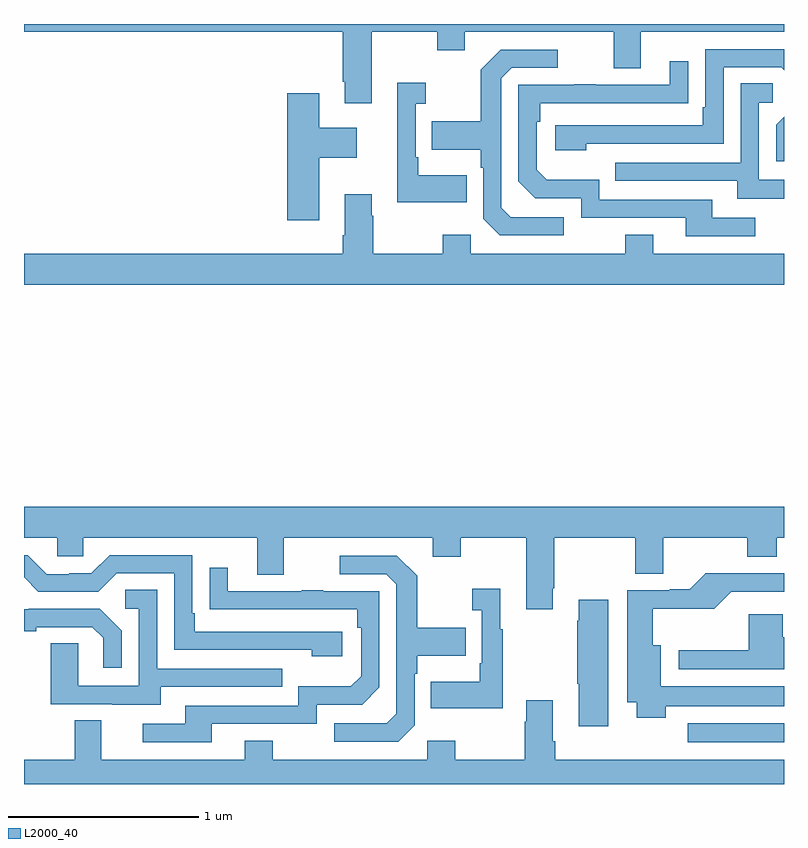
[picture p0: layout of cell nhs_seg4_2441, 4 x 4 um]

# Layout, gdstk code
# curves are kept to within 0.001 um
import gdstk
lib = gdstk.Library(unit=1e-6, precision=1e-09)
def R(c, l, rs):  # rectangles x0, y0, x1, y1
    for r in rs: c.add(gdstk.rectangle(r[:2], r[2:], *l))
def P(c, l, *ps):  # polygons
    for p in ps: c.add(gdstk.Polygon(p, *l))
L2000_40 = (2000, 40)

nhs_seg4_2441 = lib.new_cell('nhs_seg4_2441')
R(nhs_seg4_2441, L2000_40, [(242.493,753.119,243,753.22)])
P(nhs_seg4_2441, L2000_40, [(240.829,756.86),(241.174,756.86),(241.174,756.761),(241.321,756.761),(241.321,756.86),(242.105,756.86),(242.105,756.666),(242.245,756.666),(242.245,756.86),(243,756.86),(243,756.9),(239,756.9),(239,756.86),(240.677,756.86),(240.677,756.595),(240.689,756.595),(240.689,756.483),(240.829,756.483)],
  [(241.958,756.27),(242.682,756.27),(242.682,756.672),(242.985,756.672),(243,756.657),(243,756.768),(242.586,756.768),(242.586,756.463),(242.573,756.463),(242.573,756.366),(241.797,756.366),(241.797,756.236),(241.958,756.236)],
  [(241.84,755.883),(241.563,755.883),(241.512,755.934),(241.512,756.615),(241.566,756.669),(241.81,756.669),(241.81,756.765),(241.509,756.765),(241.404,756.659),(241.404,756.387),(241.147,756.387),(241.147,756.239),(241.404,756.239),(241.404,756.143),(241.416,756.143),(241.416,755.874),(241.503,755.787),(241.84,755.787)],
  [(242.848,755.88),(242.623,755.88),(242.623,755.976),(242.028,755.976),(242.028,756.079),(241.751,756.079),(241.698,756.132),(241.698,756.386),(241.718,756.386),(241.718,756.483),(242.495,756.484),(242.495,756.703),(242.399,756.703),(242.399,756.579),(242.009,756.579),(242.009,756.584),(241.897,756.584),(241.897,756.579),(241.602,756.579),(241.602,756.072),(241.692,755.982),(241.932,755.982),(241.932,755.88),(242.483,755.88),(242.483,755.784),(242.848,755.784)],
  [(241.331,756.103),(241.075,756.103),(241.075,756.199),(241.062,756.199),(241.062,756.479),(241.114,756.479),(241.114,756.592),(240.965,756.592),(240.965,755.963),(241.331,755.963)],
  [(243,756.081),(242.868,756.081),(242.868,756.486),(242.941,756.486),(242.941,756.587),(242.772,756.587),(242.772,756.171),(242.113,756.171),(242.113,756.075),(242.753,756.075),(242.753,755.981),(243,755.981)],
  [(240.553,756.197),(240.751,756.197),(240.751,756.355),(240.553,756.355),(240.553,756.535),(240.386,756.535),(240.386,755.868),(240.553,755.868)],
  [(243,756.412),(242.958,756.37),(242.958,756.177),(243,756.177)],
  [(243,755.692),(242.311,755.692),(242.311,755.791),(242.164,755.791),(242.164,755.692),(241.35,755.692),(241.35,755.791),(241.204,755.791),(241.204,755.692),(240.837,755.692),(240.837,755.891),(240.829,755.891),(240.829,756.004),(240.689,756.004),(240.689,755.788),(240.677,755.788),(240.677,755.692),(239,755.692),(239,755.528),(243,755.528)],
  [(241.783,753.931),(241.791,753.931),(241.791,754.196),(242.218,754.196),(242.218,754.006),(242.365,754.006),(242.365,754.196),(242.806,754.196),(242.806,754.097),(242.961,754.097),(242.961,754.196),(243,754.196),(243,754.36),(239,754.36),(239,754.196),(239.175,754.196),(239.175,754.098),(239.313,754.098),(239.313,754.196),(240.227,754.196),(240.227,754.002),(240.367,754.002),(240.367,754.196),(241.151,754.196),(241.151,754.097),(241.299,754.097),(241.299,754.196),(241.643,754.196),(241.643,753.819),(241.783,753.819)],
  [(240.676,753.702),(239.899,753.702),(239.899,753.799),(239.886,753.799),(239.886,754.104),(239.451,754.104),(239.355,754.008),(239.237,754.008),(239.237,754.005),(239.121,754.005),(239.021,754.105),(239,754.105),(239,753.988),(239.076,753.912),(239.391,753.912),(239.487,754.008),(239.79,754.008),(239.79,753.606),(240.515,753.606),(240.515,753.572),(240.676,753.572)],
  [(241.056,753.21),(241.056,753.479),(241.069,753.479),(241.069,753.575),(241.325,753.575),(241.325,753.723),(241.069,753.723),(241.069,753.995),(240.963,754.101),(240.663,754.101),(240.663,754.005),(240.906,754.005),(240.96,753.951),(240.96,753.27),(240.909,753.219),(240.633,753.219),(240.633,753.123),(240.969,753.123)],
  [(239.989,753.216),(240.54,753.216),(240.54,753.318),(240.78,753.318),(240.87,753.408),(240.87,753.915),(240.575,753.915),(240.575,753.92),(240.463,753.92),(240.463,753.915),(240.073,753.915),(240.073,754.039),(239.977,754.039),(239.977,753.82),(240.754,753.819),(240.754,753.722),(240.774,753.722),(240.774,753.468),(240.721,753.415),(240.444,753.415),(240.444,753.312),(239.849,753.312),(239.849,753.216),(239.625,753.216),(239.625,753.12),(239.989,753.12)],
  [(242.378,753.308),(243,753.308),(243,753.415),(242.35,753.415),(242.35,753.631),(242.309,753.631),(242.309,753.823),(242.633,753.823),(242.722,753.912),(243,753.912),(243,754.008),(242.686,754.008),(242.686,754.01),(242.586,754.01),(242.503,753.926),(242.399,753.926),(242.399,753.921),(242.174,753.921),(242.174,753.329),(242.225,753.329),(242.225,753.248),(242.378,753.248)],
  [(241.519,753.715),(241.507,753.715),(241.507,753.928),(241.359,753.928),(241.359,753.815),(241.41,753.815),(241.41,753.535),(241.398,753.535),(241.398,753.439),(241.141,753.439),(241.141,753.299),(241.519,753.299)],
  [(239.719,753.411),(240.359,753.411),(240.359,753.507),(239.7,753.507),(239.7,753.923),(239.532,753.923),(239.532,753.822),(239.604,753.822),(239.604,753.417),(239.286,753.417),(239.286,753.641),(239.141,753.641),(239.141,753.321),(239.465,753.321),(239.465,753.317),(239.719,753.317)],
  [(242.074,753.871),(241.919,753.871),(241.919,753.758),(241.912,753.758),(241.912,753.427),(241.919,753.427),(241.919,753.204),(242.074,753.204)],
  [(239.514,753.706),(239.398,753.822),(239.026,753.822),(239.026,753.819),(239,753.819),(239,753.704),(239.065,753.704),(239.065,753.726),(239.36,753.726),(239.417,753.669),(239.417,753.513),(239.514,753.513)],
  [(243,753.673),(242.993,753.673),(242.993,753.793),(242.815,753.793),(242.815,753.603),(242.445,753.603),(242.445,753.504),(243,753.504)],
  [(243,753.028),(241.796,753.028),(241.796,753.124),(241.783,753.124),(241.783,753.34),(241.643,753.34),(241.643,753.227),(241.636,753.227),(241.636,753.028),(241.269,753.028),(241.269,753.127),(241.122,753.127),(241.122,753.028),(240.309,753.028),(240.309,753.127),(240.161,753.127),(240.161,753.028),(239.407,753.028),(239.407,753.236),(239.267,753.236),(239.267,753.028),(239,753.028),(239,752.9),(243,752.9)])

lib.write_gds('nhs_seg4_2441.gds')
